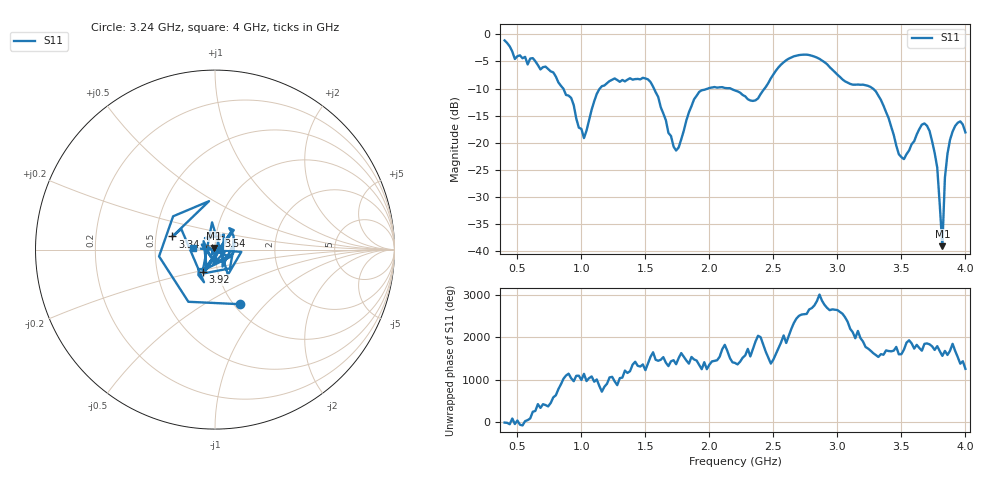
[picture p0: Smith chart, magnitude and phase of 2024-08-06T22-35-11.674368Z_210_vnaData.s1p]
!Created with skrf (http://scikit-rf.org).
# Hz S RI R 50.0
!freq ReS11 ImS11
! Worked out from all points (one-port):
!   181 points, 400 MHz to 4 GHz, reference 50 ohm
!   lowest |S11| = -39.1 dB at 3.82 GHz (marker M1), VSWR 1.02, Z = 49.4 + j0.933 ohm
!   |S11| at or under -10 dB: 857.7 MHz to 1.144 GHz (286.5 MHz wide, 28.6 % of centre); 1.567 GHz to 1.989 GHz (422.1 MHz wide, 23.7 % of centre); 3.276 GHz to end of sweep (the widest 3 of 4)
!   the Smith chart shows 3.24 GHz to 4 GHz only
!   S11 on the Smith chart (normalised r, x): 3.24 GHz: 1.07, -0.73; 3.34 GHz: 0.61, +0.10; 3.54 GHz: 1.03, +0.16; 3.92 GHz: 0.85, -0.22; 4 GHz: 0.78, +0.01
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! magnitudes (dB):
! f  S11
! 400 MHz  -1.1
! 480 MHz  -4.6
! 620 MHz  -4.4
! 860 MHz  -10.1
! 1.02 GHz  -19.1
! 1.14 GHz  -10.1
! 1.3 GHz  -8.8
! 1.54 GHz  -8.8
! 1.72 GHz  -20.7
! 1.76 GHz  -20.9
! 1.92 GHz  -10.6
! 2.2 GHz  -10.4
! 2.36 GHz  -12.2
! 2.66 GHz  -4.1
! 3.1 GHz  -9.1
! 3.24 GHz  -9.5
! 3.34 GHz  -12.1
! 3.48 GHz  -22.1
! 3.54 GHz  -22.1
! 3.56 GHz  -21.4
! 3.66 GHz  -16.7
! 3.72 GHz  -17.8
! 3.78 GHz  -24.6
! 3.82 GHz  -39.1
! 3.84 GHz  -26.4
! 3.88 GHz  -19.5
! 3.92 GHz  -16.9
! 4 GHz  -18.1
